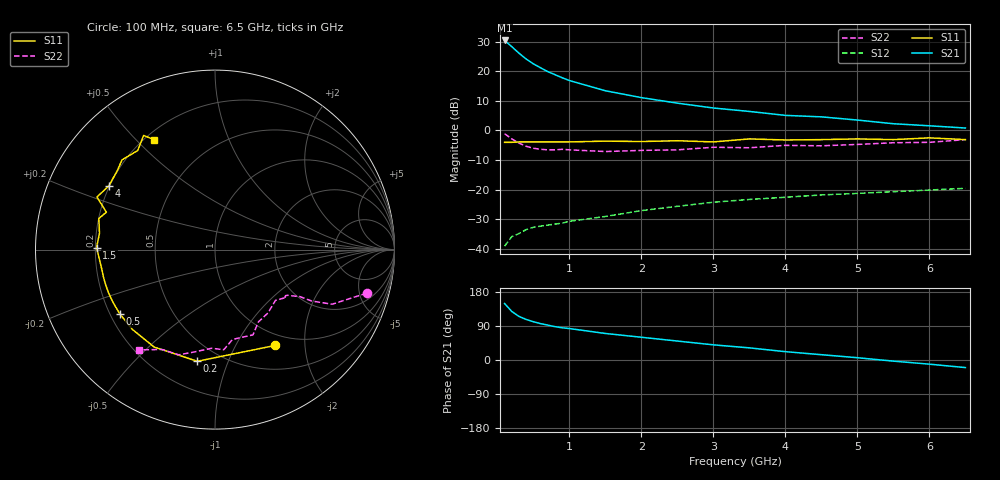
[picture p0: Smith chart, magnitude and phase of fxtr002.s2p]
!{XTR-2002}
# GHZ S MA R 50
!f	s11  S21	S12	S22
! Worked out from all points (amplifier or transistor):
!   21 points, 100 MHz to 6.5 GHz, reference 50 ohm
!   highest |S21| = 30.5 dB at 100 MHz (marker M1)
!   |S21| within 3 dB of that: start of sweep to 240.2 MHz
!   unconditionally stable (mu >= 1): 1.083 GHz to 3.407 GHz; 3.81 GHz to 4.304 GHz
!   at 400 MHz: K = 0.54, MSG = 28.9 dB, |S12| = -33.6 dB
!   at 1.5 GHz: K = 1.19, MAG = 18.6 dB, |S12| = -29.1 dB
!   at 6.5 GHz: K = 0.71, MSG = 10.2 dB, |S12| = -19.6 dB
!   S11 on the Smith chart (normalised r, x): 100 MHz: 0.83, -1.47; 200 MHz: 0.38, -0.78; 500 MHz: 0.24, -0.29; 1.5 GHz: 0.20, +0.01; 4 GHz: 0.20, +0.27; 6.5 GHz: 0.24, +0.56
0.1  0.63 -58.0  33.4 149.0  0.011 62.0  0.88 -16.0
0.2  0.63 -99.0  26.2 128.0  0.016 49.0  0.72 -25.0
0.3  0.64 -122.0  20.3 115.0  0.018 45.0  0.61 -28.0
0.4  0.64 -136.0  16.2 107.0  0.021 42.0  0.54 -29.0
0.5  0.64 -146.0  13.4 101.0  0.023 42.0  0.5 -31.0
0.6  0.64 -153.0  11.5 96.0  0.024 43.0  0.48 -32.0
0.7  0.64 -158.0  9.9 92.0  0.025 43.0  0.47 -33.0
0.8  0.64 -162.0  8.8 88.0  0.026 45.0  0.47 -34.0
0.9  0.64 -166.0  7.8 85.0  0.027 44.0  0.48 -34.0
1  0.64 -170.0  7 83.0  0.029 46.0  0.47 -35.0
1.5  0.66 179.0  4.7 70.0  0.035 49.0  0.44 -40.0
2  0.65 172.0  3.6 60.0  0.044 53.0  0.46 -50.0
2.5  0.67 165.0  2.9 50.0  0.052 55.0  0.47 -59.0
3  0.64 161.0  2.4 40.0  0.061 57.0  0.52 -66.0
3.5  0.72 156.0  2.1 32.0  0.068 53.0  0.51 -79.0
4  0.69 149.0  1.8 22.0  0.074 48.0  0.56 -85.0
4.5  0.7 141.0  1.7 14.0  0.081 44.0  0.55 -92.0
5  0.72 136.0  1.5 6.0  0.086 39.0  0.58 -101.0
5.5  0.7 128.0  1.3 -3.0  0.092 34.0  0.62 -109.0
6  0.75 122.0  1.2 -11.0  0.098 30.0  0.63 -118.0
6.5  0.7 119.0  1.1 -20.0  0.105 26.0  0.7 -127.0
